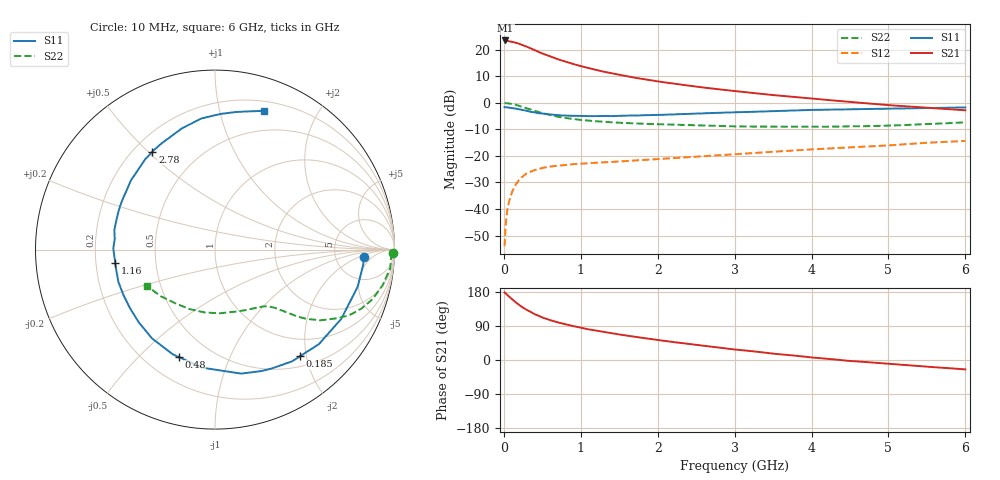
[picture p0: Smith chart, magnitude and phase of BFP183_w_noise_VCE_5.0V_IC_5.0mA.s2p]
! Infineon Technologies  Discrete & RF Semiconductors
! BFP183
! VCE = 5.0 V,  IC =  5.0 mA
! Common Emitter S-Parameters:  Jan 2016
# GHz  S  MA  R  50
!  f  S11  S21  S12  S22
! GHz  MAG  ANG  MAG  ANG  MAG  ANG  MAG  ANG
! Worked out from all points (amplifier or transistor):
!   210 points, 10 MHz to 6 GHz, reference 50 ohm
!   highest |S21| = 23.5 dB at 20 MHz (marker M1)
!   |S21| within 3 dB of that: start of sweep to 349.4 MHz
!   unconditionally stable (mu >= 1): 1.607 GHz to 5.742 GHz
!   at 185 MHz: K = 0.16, MSG = 25.9 dB, |S12| = -29.5 dB
!   at 1.52 GHz: K = 0.97, MSG = 16.3 dB, |S12| = -22.1 dB
!   at 6 GHz: K = 0.94, MSG = 5.8 dB, |S12| = -14.4 dB
!   lowest NFmin = 1.15 dB at 450 MHz
!   S11 on the Smith chart (normalised r, x): 10 MHz: 10, -3; 185 MHz: 0.67, -1.89; 480 MHz: 0.33, -0.66; 1.16 GHz: 0.28, -0.06; 2.78 GHz: 0.27, +0.52; 6 GHz: 0.29, +1.37
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0.01  0.8301 -2.7  14.83 178.2  0.002 84.7  0.9929 -1.2
0.02  0.83 -5.8  14.92 176.6  0.004 84.6  0.9827 -2.4
0.05  0.8216 -14.6  14.69 170.6  0.0106 84.7  0.9817 -6.1
0.1  0.8023 -28.8  14.19 161.6  0.0196 74.5  0.955 -12.0
0.15  0.7826 -42.3  13.62 153.0  0.0282 67.7  0.9213 -17.4
0.185  0.76 -51.4  13.12 147.6  0.0334 63.9  0.891 -20.6
0.24  0.7336 -64.6  12.27 139.4  0.0405 58.1  0.8425 -25.2
0.3  0.7061 -78.1  11.39 132.0  0.0472 52.8  0.7849 -29.1
0.4  0.6617 -96.2  9.817 120.9  0.0541 46.1  0.7063 -33.9
0.48  0.6316 -108.7  8.733 114.2  0.0584 41.6  0.6535 -36.4
0.6  0.6064 -125.4  7.528 105.3  0.0631 37.4  0.5876 -39.2
0.7  0.5871 -136.3  6.615 99.3  0.0656 35.4  0.5475 -40.6
0.8  0.575 -145.7  5.964 94.0  0.0671 33.3  0.518 -41.7
1.02  0.5658 -163.0  4.814 84.3  0.0715 30.9  0.4732 -43.8
1.16  0.561 -172.5  4.292 78.9  0.0739 30.3  0.454 -45.1
1.5  0.5714 169.1  3.371 67.3  0.0786 30.3  0.4208 -48.6
2.02  0.5913 146.9  2.506 52.3  0.0877 30.6  0.3945 -55.6
2.78  0.648 122.6  1.807 32.8  0.1029 31.2  0.3678 -69.6
3.1  0.6678 114.3  1.607 25.8  0.11 31.1  0.3584 -76.7
4.1  0.7378 94.2  1.169 5.1  0.1351 28.4  0.3544 -102.2
5.1  0.7785 80.3  0.884 -11.4  0.1615 24.8  0.3757 -129.3
6  0.819 70.7  0.723 -24.8  0.1914 18.1  0.4287 -151.6
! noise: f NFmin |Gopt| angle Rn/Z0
0.45  1.15  0.25  40  0.26
0.9  1.2  0.25  93  0.22
1.8  1.95  0.32  170  0.13
